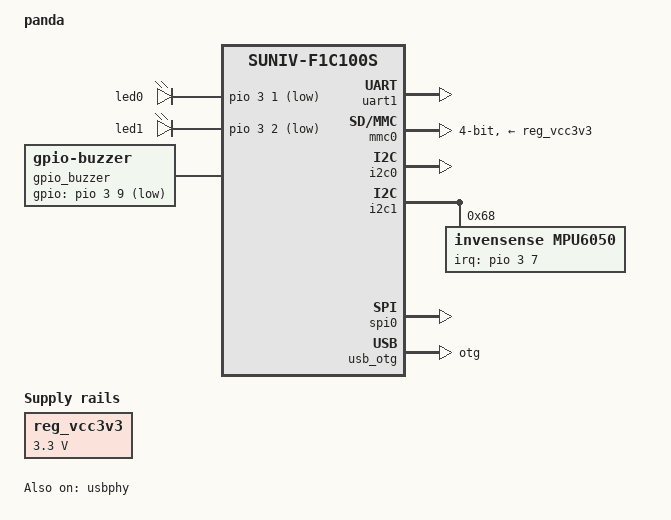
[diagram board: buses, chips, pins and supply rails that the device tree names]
// SPDX-License-Identifier: (GPL-2.0+ OR X11)
/*
 * Copyright 2022 Weiye Wang <wwytxjy@163.com>
 */

/dts-v1/;
#include <dt-bindings/interrupt-controller/irq.h>
#include <dt-bindings/gpio/gpio.h>
#include "suniv-f1c100s.dtsi"

/ {
	model = "panda";
	compatible = "weiye,panda", "allwinner,suniv-f1c100s";

	aliases {
		serial0 = &uart0;
		serial1 = &uart1;
	};

	chosen {
		stdout-path = "serial1:115200n8";
	};

	reg_vcc3v3: vcc3v3 {
		compatible = "regulator-fixed";
		regulator-name = "vcc3v3";
		regulator-min-microvolt = <3300000>;
		regulator-max-microvolt = <3300000>;
	};

	gpio_leds: gpio_leds {
		compatible = "gpio-leds";

		led0 {
			label = "led0";
			gpios = <&pio 3 1 GPIO_ACTIVE_LOW>;
			linux,default-trigger = "heartbeat";
			default-state = "off";
		};

		led1 {
			label = "led1";
			gpios = <&pio 3 2 GPIO_ACTIVE_LOW>;
			linux,default-trigger = "backlignt";
			default-state = "off";
		};
	};

	gpio_buzzer: gpio_buzzer {
		compatible = "gpio-buzzer";
		gpios = <&pio 3 9 GPIO_ACTIVE_LOW>;
		default-state = "off";
		status = "okay";
	};

	panel: panel {
		compatible = "alientek,lcd-rgb", "simple-panel";
		#address-cells = <1>;
		#size-cells = <0>;
		status = "disabled";

		port@0 {
			reg = <0>;
			#address-cells = <1>;
			#size-cells = <0>;

			panel_input: endpoint@0 {
				reg = <0>;
				remote-endpoint = <&tcon0_out_lcd>;
			};
		};
	};

	esp8089: esp8089 {
		rst-gpios = <&pio 0 0 GPIO_ACTIVE_LOW>;
		int = <&pio 3 3 GPIO_ACTIVE_HIGH>;
	};
};

&uart0 {
	pinctrl-names = "default";
	pinctrl-0 = <&uart0_pe_pins>;
	status = "disabled";
};

&uart1 {
	pinctrl-names = "default";
	pinctrl-0 = <&uart1_pe_pins>;
	status = "okay";
};

&mmc0 {
	vmmc-supply = <&reg_vcc3v3>;
	bus-width = <4>;
	broken-cd;
	status = "okay";
};

&csi0 {
	status = "disabled";
    pinctrl-names = "default";
    pinctrl-0 = <&csi0_clk &csi0_8bit>;

	port@0 {
		csi0_ep: endpoint@0 {
			remote-endpoint = <&ov2640_0>;
			hsync-active = <0>;
			vsync-active = <0>;
			bus-width = <8>;
			pclk-sample = <1>;
		};
	};
 };

&i2c0 {
	status = "okay";

	xio: gpio@20 {
		compatible = "nxp,pcf8574";
		reg = <0x20>;

		gpio-controller;
		#gpio-cells = <2>;

		interrupt-parent = <&pio>;
		interrupts = <6 0 IRQ_TYPE_EDGE_FALLING>;
		interrupt-controller;
		#interrupt-cells = <2>;
		status = "disabled";
	};

	ov2640: camera@30 {
		compatible = "ovti,ov2640";
		reg = <0x30>;
		clocks = <&csi_mclk>;
		clock-names = "xvclk";
		assigned-clocks = <&csi_mclk>;
		assigned-clock-rates = <24000000>;
		resetb = <&xio 1 GPIO_ACTIVE_LOW>;
		pwdn = <&xio 2 GPIO_ACTIVE_HIGH>;
		status = "disabled";

		port@0 {
			ov2640_0: endpoint@0 {
				remote-endpoint = <&csi0_ep>;
				bus-width = <8>;
			};
		};
	};
};

&i2c1 {
	status = "okay";

	mpu6050@68 {
		compatible = "invensense,mpu6050";
		reg = <0x68>;
		interrupt-parent = <&pio>;
		interrupts = <3 7 IRQ_TYPE_EDGE_RISING>;
		mount-matrix = "-0.984807753012208",  /* x0 */
		               "0",                   /* y0 */
		               "-0.173648177666930",  /* z0 */
		               "0",                   /* x1 */
		               "-1",                  /* y1 */
		               "0",                   /* z1 */
		               "-0.173648177666930",  /* x2 */
		               "0",                   /* y2 */
		               "0.984807753012208";   /* z2 */
	};
};

&tcon0 {
	pinctrl-names = "default";
	pinctrl-0 = <&lcd_rgb666_pins>;
	status = "disabled";
};

&tcon0_out {
	tcon0_out_lcd: endpoint@0 {
		reg = <0>;
		remote-endpoint = <&panel_input>;
	};
};

&de {
	status = "disabled";
};

&spi0 {
	status = "okay";
};

&otg_sram {
	status = "okay";
};

&usb_otg {
	dr_mode = "otg"; /* otg / host / peripheral */
	status = "okay";
};

&usbphy {
	status = "okay";
};
